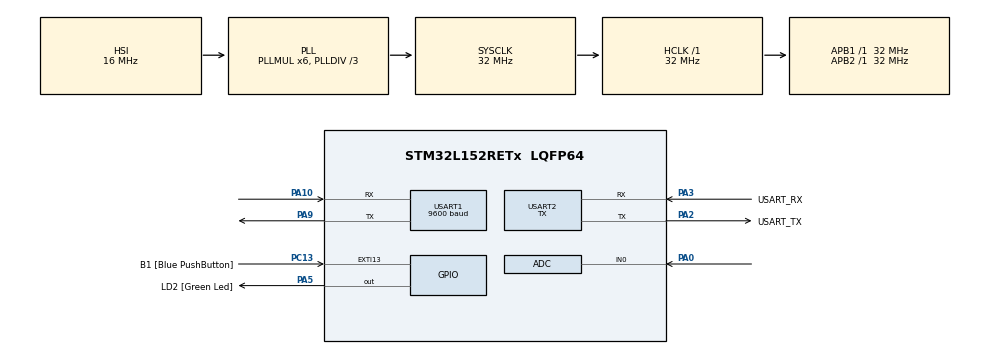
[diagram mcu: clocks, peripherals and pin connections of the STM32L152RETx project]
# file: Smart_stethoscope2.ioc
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ADC.Channel-1\#ChannelRegularConversion=ADC_CHANNEL_0
ADC.ContinuousConvMode=ENABLE
ADC.DMAContinuousRequests=ENABLE
ADC.ExternalTrigConv=ADC_EXTERNALTRIGCONV_T2_TRGO
ADC.NbrOfConversionFlag=1
ADC.Rank-1\#ChannelRegularConversion=1
ADC.SamplingTime-1\#ChannelRegularConversion=ADC_SAMPLETIME_96CYCLES
Dma.ADC.0.Direction=DMA_PERIPH_TO_MEMORY
Dma.ADC.0.Instance=DMA1_Channel1
Dma.ADC.0.MemDataAlignment=DMA_MDATAALIGN_HALFWORD
Dma.ADC.0.MemInc=DMA_MINC_ENABLE
Dma.ADC.0.Mode=DMA_CIRCULAR
Dma.ADC.0.PeriphDataAlignment=DMA_PDATAALIGN_HALFWORD
Dma.ADC.0.PeriphInc=DMA_PINC_DISABLE
Dma.ADC.0.Priority=DMA_PRIORITY_MEDIUM
Dma.Request0=ADC
Mcu.Family=STM32L1
Mcu.Name=STM32L152RETx
Mcu.Package=LQFP64
NVIC.DMA1_Channel1_IRQn=true\:0\:0\:false\:false\:true\:false\:true\:true
NVIC.PriorityGroup=NVIC_PRIORITYGROUP_0
PA0-WKUP1.Mode=IN0
PA0-WKUP1.Signal=ADC_IN0
PA10.Mode=Asynchronous
PA10.Signal=USART1_RX
PA13.GPIO_Label=TMS
PA13.Mode=Serial_Wire
PA13.Signal=SYS_JTMS-SWDIO
PA14.GPIO_Label=TCK
PA14.Mode=Serial_Wire
PA14.Signal=SYS_JTCK-SWCLK
PA2.GPIO_Label=USART_TX
PA2.Mode=Asynchronous
PA2.Signal=USART2_TX
PA3.GPIO_Label=USART_RX
PA3.Mode=Asynchronous
PA3.Signal=USART2_RX
PA5.GPIO_Label=LD2 [Green Led]
PA5.Signal=GPIO_Output
PA9.Mode=Asynchronous
PA9.Signal=USART1_TX
PB3.GPIO_Label=SWO
PB3.Signal=SYS_JTDO-TRACESWO
PC13-WKUP2.GPIO_Label=B1 [Blue PushButton]
PC13-WKUP2.Signal=GPXTI13
PC14-OSC32_IN.Mode=LSE-External-Oscillator
PC14-OSC32_IN.Signal=RCC_OSC32_IN
PC15-OSC32_OUT.Mode=LSE-External-Oscillator
PC15-OSC32_OUT.Signal=RCC_OSC32_OUT
PH0-OSC_IN.Mode=HSE-External-Clock-Source
PH0-OSC_IN.Signal=RCC_OSC_IN
PH1-OSC_OUT.Signal=RCC_OSC_OUT
ProjectManager.HeapSize=0x200
ProjectManager.StackSize=0x400
ProjectManager.TargetToolchain=STM32CubeIDE
RCC.48MHZClocksFreq_Value=48000000
RCC.AHBFreq_Value=32000000
RCC.APB1Freq_Value=32000000
RCC.APB1TimFreq_Value=32000000
RCC.APB2Freq_Value=32000000
RCC.APB2TimFreq_Value=32000000
RCC.HCLKFreq_Value=32000000
RCC.HSE_VALUE=8000000
RCC.HSI_VALUE=16000000
RCC.MSI_VALUE=2097000
RCC.PLLDIV=RCC_PLL_DIV3
RCC.PLLMUL=RCC_PLL_MUL6
RCC.RTCClockSelectionVirtual=RCC_RTCCLKSOURCE_LSE
RCC.SYSCLKFreq_VALUE=32000000
RCC.SYSCLKSource=RCC_SYSCLKSOURCE_PLLCLK
RCC.USBOutput=48000000
RCC.VCOOutputFreq_Value=96000000
TIM2.Period=499
TIM2.Prescaler=31
TIM2.TIM_MasterOutputTrigger=TIM_TRGO_UPDATE
USART1.BaudRate=9600
USART1.Mode=MODE_TX_RX
USART1.VirtualMode=VM_ASYNC
USART2.Mode=MODE_TX
USART2.VirtualMode=VM_ASYNC
VP_TIM2_VS_ClockSourceINT.Mode=Internal
board=NUCLEO-L152RE

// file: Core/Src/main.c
/* USER CODE BEGIN Header */
/**
  ******************************************************************************
  * @file           : main.c
  * @brief          : Main program body
  ******************************************************************************
  * @attention
  *
  * Copyright (c) 2025 STMicroelectronics.
  * All rights reserved.
  *
  * This software is licensed under terms that can be found in the LICENSE file
  * in the root directory of this software component.
  * If no LICENSE file comes with this software, it is provided AS-IS.
  *
  ******************************************************************************
  */
/* USER CODE END Header */
#include "main.h"
#include <stdio.h>
#include <string.h>

ADC_HandleTypeDef hadc;
DMA_HandleTypeDef hdma_adc;

TIM_HandleTypeDef htim2;

UART_HandleTypeDef huart1;
UART_HandleTypeDef huart2;

/* USER CODE BEGIN PV */
#define ADC_BUF_SIZE 512
uint16_t adcBuf[ADC_BUF_SIZE];

volatile uint8_t half_ready = 0;
volatile uint8_t full_ready = 0;
/* USER CODE END PV */

void SystemClock_Config(void);
static void MX_GPIO_Init(void);
static void MX_DMA_Init(void);
static void MX_USART2_UART_Init(void);
static void MX_ADC_Init(void);
static void MX_USART1_UART_Init(void);
static void MX_TIM2_Init(void);
/* USER CODE BEGIN PFP */
static void send_chunk(uint16_t *p, size_t n);
/* USER CODE END PFP */

int main(void)
{

  /* MCU Configuration--------------------------------------------------------*/

  /* Reset of all peripherals, Initializes the Flash interface and the Systick. */
  HAL_Init();

  /* Configure the system clock */
  SystemClock_Config();

  /* Initialize all configured peripherals */
  MX_GPIO_Init();
  MX_DMA_Init();
  MX_USART2_UART_Init();
  MX_ADC_Init();
  MX_USART1_UART_Init();
  MX_TIM2_Init();
  /* USER CODE BEGIN 2 */
  HAL_TIM_Base_Start(&htim2);
  HAL_ADC_Start_DMA(&hadc, (uint32_t*)adcBuf, ADC_BUF_SIZE);/*
  while (1)
  {
      char btMsg[] = "HELLO VIA BLUETOOTH USART1\r\n";
      HAL_UART_Transmit(&huart1, (uint8_t*)btMsg, strlen(btMsg), HAL_MAX_DELAY);
      HAL_UART_Transmit(&huart2, (uint8_t*)"Sent BT msg\r\n", 13, HAL_MAX_DELAY);
      //HAL_Delay(1000); // 1 second delay
  }*/
  /*
  while (1)
  {
      char testMsg[] = "HELLO VIA USB USART2\r\n";
      HAL_UART_Transmit(&huart2, (uint8_t*)testMsg, strlen(testMsg), HAL_MAX_DELAY);
      HAL_Delay(1000); // send every 1 second
  }*/

  while (1)
  {
      if (half_ready) {
          half_ready = 0;
          send_chunk(adcBuf, ADC_BUF_SIZE / 2);
      }

      if (full_ready) {
          full_ready = 0;
          send_chunk(&adcBuf[ADC_BUF_SIZE / 2], ADC_BUF_SIZE / 2);
      }
  }
  /* USER CODE BEGIN 2 */

  // TEMP TEST: UART commication via Bluetooth
  // --------------------------------------------
/*
  char msg[50];
  while (1)
  {
      sprintf(msg, "Hello_Lokeeee %lu\r\n", HAL_GetTick());
      HAL_UART_Transmit(&huart1, (uint8_t*)msg, strlen(msg), HAL_MAX_DELAY);
      HAL_Delay(500);
  }
*/
  // Uncomment below when Bluetooth test works
  /* USER CODE END 2 */

  /* Infinite loop */
  while (1)
  {

  }
}

void SystemClock_Config(void)
{
  RCC_OscInitTypeDef RCC_OscInitStruct = {0};
  RCC_ClkInitTypeDef RCC_ClkInitStruct = {0};

  /** Configure the main internal regulator output voltage
  */
  __HAL_PWR_VOLTAGESCALING_CONFIG(PWR_REGULATOR_VOLTAGE_SCALE1);

  /** Initializes the RCC Oscillators according to the specified parameters
  * in the RCC_OscInitTypeDef structure.
  */
  RCC_OscInitStruct.OscillatorType = RCC_OSCILLATORTYPE_HSI;
  RCC_OscInitStruct.HSIState = RCC_HSI_ON;
  RCC_OscInitStruct.HSICalibrationValue = RCC_HSICALIBRATION_DEFAULT;
  RCC_OscInitStruct.PLL.PLLState = RCC_PLL_ON;
  RCC_OscInitStruct.PLL.PLLSource = RCC_PLLSOURCE_HSI;
  RCC_OscInitStruct.PLL.PLLMUL = RCC_PLL_MUL6;
  RCC_OscInitStruct.PLL.PLLDIV = RCC_PLL_DIV3;
  if (HAL_RCC_OscConfig(&RCC_OscInitStruct) != HAL_OK)
  {
    Error_Handler();
  }

  /** Initializes the CPU, AHB and APB buses clocks
  */
  RCC_ClkInitStruct.ClockType = RCC_CLOCKTYPE_HCLK|RCC_CLOCKTYPE_SYSCLK
                              |RCC_CLOCKTYPE_PCLK1|RCC_CLOCKTYPE_PCLK2;
  RCC_ClkInitStruct.SYSCLKSource = RCC_SYSCLKSOURCE_PLLCLK;
  RCC_ClkInitStruct.AHBCLKDivider = RCC_SYSCLK_DIV1;
  RCC_ClkInitStruct.APB1CLKDivider = RCC_HCLK_DIV1;
  RCC_ClkInitStruct.APB2CLKDivider = RCC_HCLK_DIV1;

  if (HAL_RCC_ClockConfig(&RCC_ClkInitStruct, FLASH_LATENCY_1) != HAL_OK)
  {
    Error_Handler();
  }
}

static void MX_ADC_Init(void)
{

  ADC_ChannelConfTypeDef sConfig = {0};

  /** Configure the global features of the ADC (Clock, Resolution, Data Alignment and number of conversion)
  */
  hadc.Instance = ADC1;
  hadc.Init.ClockPrescaler = ADC_CLOCK_ASYNC_DIV1;
  hadc.Init.Resolution = ADC_RESOLUTION_12B;
  hadc.Init.DataAlign = ADC_DATAALIGN_RIGHT;
  hadc.Init.ScanConvMode = ADC_SCAN_DISABLE;
  hadc.Init.EOCSelection = ADC_EOC_SEQ_CONV;
  hadc.Init.LowPowerAutoWait = ADC_AUTOWAIT_DISABLE;
  hadc.Init.LowPowerAutoPowerOff = ADC_AUTOPOWEROFF_DISABLE;
  hadc.Init.ChannelsBank = ADC_CHANNELS_BANK_A;
  hadc.Init.ContinuousConvMode = ENABLE;
  hadc.Init.NbrOfConversion = 1;
  hadc.Init.DiscontinuousConvMode = DISABLE;
  hadc.Init.ExternalTrigConv = ADC_EXTERNALTRIGCONV_T2_TRGO;
  hadc.Init.ExternalTrigConvEdge = ADC_EXTERNALTRIGCONVEDGE_RISING;
  hadc.Init.DMAContinuousRequests = ENABLE;
  if (HAL_ADC_Init(&hadc) != HAL_OK)
  {
    Error_Handler();
  }

  /** Configure for the selected ADC regular channel its corresponding rank in the sequencer and its sample time.
  */
  sConfig.Channel = ADC_CHANNEL_0;
  sConfig.Rank = ADC_REGULAR_RANK_1;
  sConfig.SamplingTime = ADC_SAMPLETIME_96CYCLES;
  if (HAL_ADC_ConfigChannel(&hadc, &sConfig) != HAL_OK)
  {
    Error_Handler();
  }

}

static void MX_TIM2_Init(void)
{

  TIM_ClockConfigTypeDef sClockSourceConfig = {0};
  TIM_MasterConfigTypeDef sMasterConfig = {0};

  htim2.Instance = TIM2;
  htim2.Init.Prescaler = 31;
  htim2.Init.CounterMode = TIM_COUNTERMODE_UP;
  htim2.Init.Period = 499;
  htim2.Init.ClockDivision = TIM_CLOCKDIVISION_DIV1;
  htim2.Init.AutoReloadPreload = TIM_AUTORELOAD_PRELOAD_DISABLE;
  if (HAL_TIM_Base_Init(&htim2) != HAL_OK)
  {
    Error_Handler();
  }
  sClockSourceConfig.ClockSource = TIM_CLOCKSOURCE_INTERNAL;
  if (HAL_TIM_ConfigClockSource(&htim2, &sClockSourceConfig) != HAL_OK)
  {
    Error_Handler();
  }
  sMasterConfig.MasterOutputTrigger = TIM_TRGO_UPDATE;
  sMasterConfig.MasterSlaveMode = TIM_MASTERSLAVEMODE_DISABLE;
  if (HAL_TIMEx_MasterConfigSynchronization(&htim2, &sMasterConfig) != HAL_OK)
  {
    Error_Handler();
  }

}

static void MX_USART1_UART_Init(void)
{

  huart1.Instance = USART1;
  huart1.Init.BaudRate = 9600;
  huart1.Init.WordLength = UART_WORDLENGTH_8B;
  huart1.Init.StopBits = UART_STOPBITS_1;
  huart1.Init.Parity = UART_PARITY_NONE;
  huart1.Init.Mode = UART_MODE_TX_RX;
  huart1.Init.HwFlowCtl = UART_HWCONTROL_NONE;
  huart1.Init.OverSampling = UART_OVERSAMPLING_16;
  if (HAL_UART_Init(&huart1) != HAL_OK)
  {
    Error_Handler();
  }

}

static void MX_USART2_UART_Init(void)
{

  huart2.Instance = USART2;
  huart2.Init.BaudRate = 115200;
  huart2.Init.WordLength = UART_WORDLENGTH_8B;
  huart2.Init.StopBits = UART_STOPBITS_1;
  huart2.Init.Parity = UART_PARITY_NONE;
  huart2.Init.Mode = UART_MODE_TX;
  huart2.Init.HwFlowCtl = UART_HWCONTROL_NONE;
  huart2.Init.OverSampling = UART_OVERSAMPLING_16;
  if (HAL_UART_Init(&huart2) != HAL_OK)
  {
    Error_Handler();
  }

}

static void MX_DMA_Init(void)
{

  /* DMA controller clock enable */
  __HAL_RCC_DMA1_CLK_ENABLE();

  /* DMA interrupt init */
  /* DMA1_Channel1_IRQn interrupt configuration */
  HAL_NVIC_SetPriority(DMA1_Channel1_IRQn, 0, 0);
  HAL_NVIC_EnableIRQ(DMA1_Channel1_IRQn);

}

static void MX_GPIO_Init(void)
{
  GPIO_InitTypeDef GPIO_InitStruct = {0};

  /* GPIO Ports Clock Enable */
  __HAL_RCC_GPIOC_CLK_ENABLE();
  __HAL_RCC_GPIOH_CLK_ENABLE();
  __HAL_RCC_GPIOA_CLK_ENABLE();
  __HAL_RCC_GPIOB_CLK_ENABLE();

  /*Configure GPIO pin Output Level */
  HAL_GPIO_WritePin(LD2_GPIO_Port, LD2_Pin, GPIO_PIN_RESET);

  /*Configure GPIO pin : B1_Pin */
  GPIO_InitStruct.Pin = B1_Pin;
  GPIO_InitStruct.Mode = GPIO_MODE_IT_RISING;
  GPIO_InitStruct.Pull = GPIO_NOPULL;
  HAL_GPIO_Init(B1_GPIO_Port, &GPIO_InitStruct);

  /*Configure GPIO pin : LD2_Pin */
  GPIO_InitStruct.Pin = LD2_Pin;
  GPIO_InitStruct.Mode = GPIO_MODE_OUTPUT_PP;
  GPIO_InitStruct.Pull = GPIO_NOPULL;
  GPIO_InitStruct.Speed = GPIO_SPEED_FREQ_LOW;
  HAL_GPIO_Init(LD2_GPIO_Port, &GPIO_InitStruct);

}

/* USER CODE BEGIN 4 */
void HAL_ADC_ConvHalfCpltCallback(ADC_HandleTypeDef *hadc)
{
    if (hadc->Instance == ADC1)
        half_ready = 1;
}

void HAL_ADC_ConvCpltCallback(ADC_HandleTypeDef *hadc)
{
    if (hadc->Instance == ADC1)
        full_ready = 1;
}

static void send_chunk(uint16_t *p, size_t n)
{
    char line[16];
    // Send every 8th sample → effective ~125 Hz rate
    for (size_t i = 0; i < n; i += 8)
    {
        int len = sprintf(line, "%u\r\n", p[i]);
        HAL_UART_Transmit(&huart1, (uint8_t*)line, len, HAL_MAX_DELAY);
        HAL_Delay(1); // pacing to avoid HC-05 overflow
    }
}
/* USER CODE END 4 */

void Error_Handler(void)
{
  __disable_irq();
  while (1)
  {
  }
}
